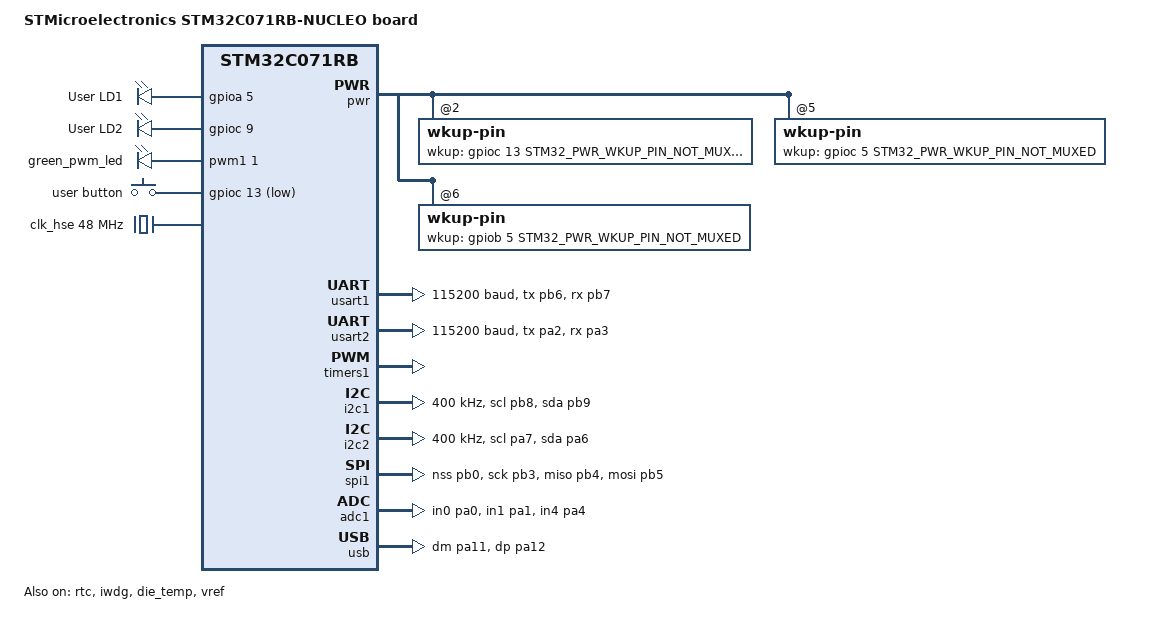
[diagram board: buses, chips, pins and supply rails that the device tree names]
/*
 * Copyright (c) 2024 STMicroelectronics
 *
 * SPDX-License-Identifier: Apache-2.0
 */

/dts-v1/;
#include <st/c0/stm32c071Xb.dtsi>
#include <st/c0/stm32c071rbtx-pinctrl.dtsi>
#include "arduino_r3_connector.dtsi"
#include <zephyr/dt-bindings/input/input-event-codes.h>

/ {
	model = "STMicroelectronics STM32C071RB-NUCLEO board";
	compatible = "st,stm32c071rb-nucleo";

	chosen {
		zephyr,console = &usart2;
		zephyr,shell-uart = &usart2;
		zephyr,sram = &sram0;
		zephyr,flash = &flash0;
	};

	leds: leds {
		compatible = "gpio-leds";

		green_led_1: led_1 {
			gpios = <&gpioa 5 GPIO_ACTIVE_HIGH>;
			label = "User LD1";
		};

		blue_led: led_2 {
			gpios = <&gpioc 9 GPIO_ACTIVE_HIGH>;
			label = "User LD2";
		};
	};

	pwmleds {
		compatible = "pwm-leds";

		green_pwm_led: green_pwm_led {
			pwms = <&pwm1 1 PWM_MSEC(20) PWM_POLARITY_NORMAL>;
		};
	};

	gpio_keys {
		compatible = "gpio-keys";

		user_button: button {
			label = "user button";
			gpios = <&gpioc 13 (GPIO_ACTIVE_LOW | GPIO_PULL_UP)>;
			status = "okay";
			zephyr,code = <INPUT_KEY_0>;
		};
	};

	aliases {
		led0 = &green_led_1;
		led1 = &blue_led;
		pwm-led0 = &green_pwm_led;
		sw0 = &user_button;
		watchdog0 = &iwdg;
		die-temp0 = &die_temp;
		volt-sensor0 = &vref;
	};
};

/* Add the STM32C071Rx package-specific wake-up pins */
&pwr {
	wkup-pin@2 {
		wkup-gpios = <&gpioc 13 STM32_PWR_WKUP_PIN_NOT_MUXED>;
	};

	wkup-pin@5 {
		wkup-gpios = <&gpioc 5 STM32_PWR_WKUP_PIN_NOT_MUXED>;
	};

	wkup-pin@6 {
		wkup-gpios = <&gpiob 5 STM32_PWR_WKUP_PIN_NOT_MUXED>;
	};
};

&clk_lse {
	status = "okay";
};

&clk_hse {
	clock-frequency = <DT_FREQ_M(48)>;
	status = "okay";
};

&clk_hsi {
	status = "okay";
};

&clk_hsi48 {
	status = "okay";
	crs-usb-sof;
};

&rcc {
	clocks = <&clk_hse>;
	clock-frequency = <DT_FREQ_M(48)>;
	ahb-prescaler = <1>;
	apb1-prescaler = <1>;
};

&usart1 {
	pinctrl-0 = <&usart1_tx_pb6 &usart1_rx_pb7>;
	pinctrl-names = "default";
	current-speed = <115200>;
	status = "okay";
};

&usart2 {
	pinctrl-0 = <&usart2_tx_pa2 &usart2_rx_pa3>;
	pinctrl-names = "default";
	current-speed = <115200>;
	status = "okay";
};

&rtc {
	clocks = <&rcc STM32_CLOCK(APB1, 10)>,
		 <&rcc STM32_SRC_LSE RTC_SEL(1)>;
	status = "okay";
};

&iwdg {
	status = "okay";
};

&timers1 {
	st,prescaler = <10000>;
	status = "okay";

	pwm1: pwm {
		pinctrl-0 = <&tim1_ch1_pa5>;
		pinctrl-names = "default";
		status = "okay";
	};
};

&i2c1 {
	pinctrl-0 = <&i2c1_scl_pb8 &i2c1_sda_pb9>;
	pinctrl-names = "default";
	status = "okay";
	clock-frequency = <I2C_BITRATE_FAST>;
};

&i2c2 {
	pinctrl-0 = <&i2c2_scl_pa7 &i2c2_sda_pa6>;
	pinctrl-names = "default";
	status = "okay";
	clock-frequency = <I2C_BITRATE_FAST>;
};

&spi1 {
	pinctrl-0 = <&spi1_nss_pb0 &spi1_sck_pb3
		     &spi1_miso_pb4 &spi1_mosi_pb5>;
	pinctrl-names = "default";
	status = "okay";
};

&adc1 {
	pinctrl-0 = <&adc1_in0_pa0 &adc1_in1_pa1 &adc1_in4_pa4>;
	pinctrl-names = "default";
	st,adc-clock-source = "ASYNC";
	clocks = <&rcc STM32_CLOCK(APB1_2, 20)>,
		 <&rcc STM32_SRC_HSI ADC_SEL(2)>;
	clock-names = "adcx", "adc_ker";
	st,adc-prescaler = <4>;
	status = "okay";
	vref-mv = <3300>;
};

&die_temp {
	status = "okay";
};

&vref {
	status = "okay";
};

&dma1 {
	status = "okay";
};

&dmamux1 {
	status = "okay";
};

zephyr_udc0: &usb {
	pinctrl-0 = <&usb_dm_pa11 &usb_dp_pa12>;
	pinctrl-names = "default";
	status = "okay";
};
